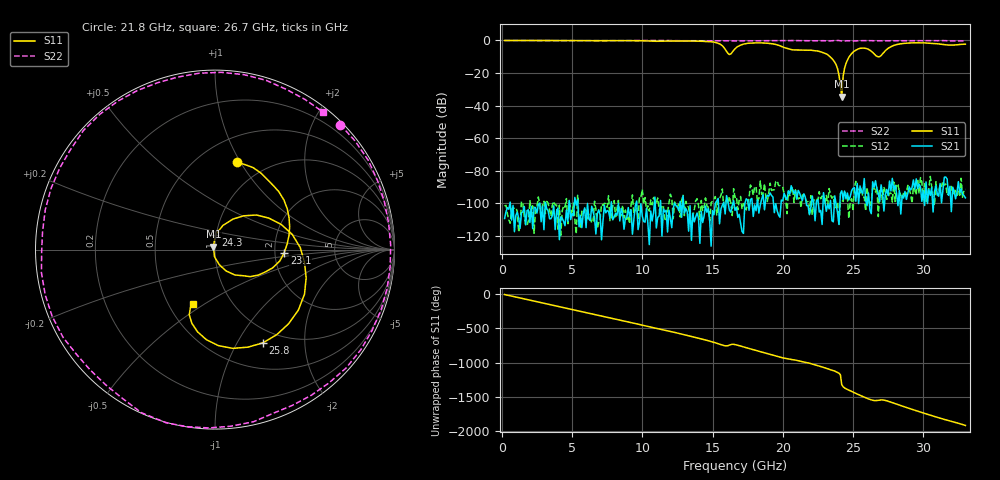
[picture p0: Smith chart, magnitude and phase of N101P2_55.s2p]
# GHZ S RI R 50
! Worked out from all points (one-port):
!   329 points, 200 MHz to 33 GHz, reference 50 ohm
!   lowest |S11| = -34.6 dB at 24.2 GHz (marker M1), VSWR 1.04, Z = 49.1 + j1.61 ohm
!   |S11| at or under -10 dB: 23.36 GHz to 24.73 GHz (1.369 GHz wide, 5.69 % of centre); 26.79132 GHz to 26.82449 GHz (33.17 MHz wide, 0.124 % of centre)
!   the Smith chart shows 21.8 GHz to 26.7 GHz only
!   S11 on the Smith chart (normalised r, x): 21.8 GHz: 0.75, +0.97; 23.1 GHz: 2.25, -0.09; 24.3 GHz: 0.99, +0.16; 25.8 GHz: 0.82, -1.29; 26.7 GHz: 0.66, -0.45
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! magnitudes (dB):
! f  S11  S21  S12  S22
! 200 MHz  0.0  -109.3  -101.7  0.0
! 5.7 GHz  -0.1  -114.9  -104.8  -0.1
! 11.2 GHz  -0.5  -107.8  -103.5  0.0
! 15.1 GHz  -1.0  -107.1  -97.6  -0.2
! 15.6 GHz  -2.6  -103.5  -95.1  -0.2
! 16.2 GHz  -8.6  -104.2  -95.9  -0.2
! 16.6 GHz  -5.1  -104.4  -96.5  -0.2
! 18.4 GHz  -1.4  -101.1  -86.4  -0.1
! 21.8 GHz  -6.0  -101.4  -99.0  -0.1
! 22.1 GHz  -6.1  -95.5  -107.3  -0.1
! 23.1 GHz  -8.3  -104.9  -95.2  -0.2
! 23.8 GHz  -14.9  -100.7  -102.0  0.0
! 24 GHz  -21.1  -113.0  -113.6  0.0
! 24.2 GHz  -34.6  -92.4  -98.1  -0.3
! 24.3 GHz  -21.8  -97.6  -98.9  -0.3
! 24.5 GHz  -14.1  -97.3  -95.1  -0.2
! 24.8 GHz  -9.2  -96.0  -98.9  -0.2
! 25.8 GHz  -4.7  -84.8  -96.1  -0.1
! 26.7 GHz  -9.7  -90.9  -89.8  -0.2
! 27.6 GHz  -4.3  -86.3  -93.8  -0.2
! 29.1 GHz  -1.5  -91.8  -94.3  -0.1
! 33 GHz  -2.3  -96.7  -91.5  -0.3
